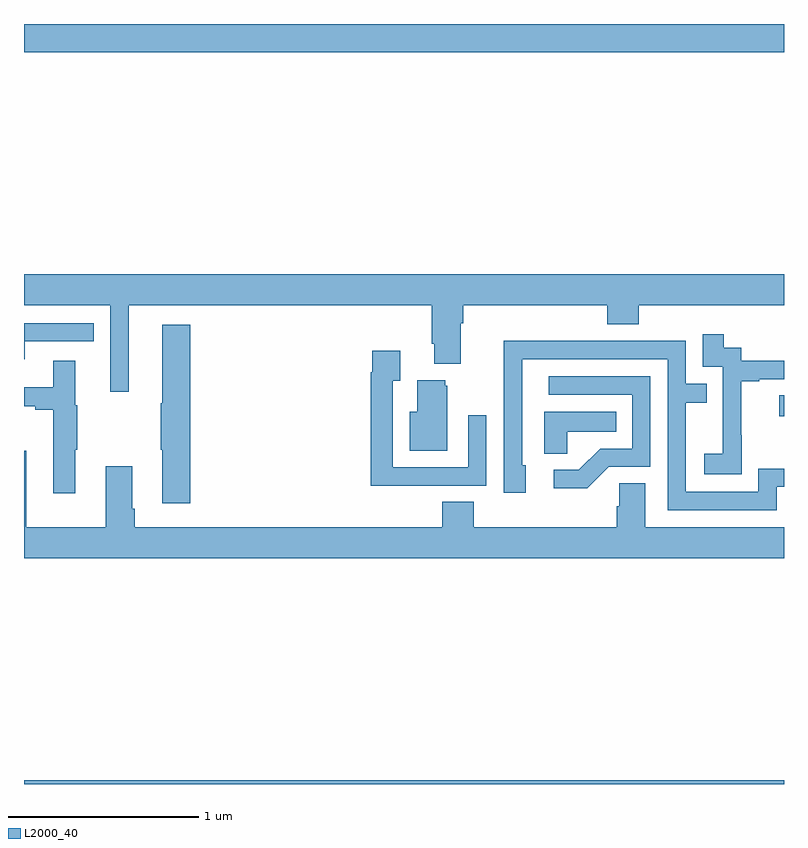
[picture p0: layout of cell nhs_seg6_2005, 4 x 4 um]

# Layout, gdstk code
import gdstk
lib = gdstk.Library(unit=1e-6, precision=1e-09)
def R(c, l, rs):  # rectangles x0, y0, x1, y1
    for r in rs: c.add(gdstk.rectangle(r[:2], r[2:], *l))
def P(c, l, *ps):  # polygons
    for p in ps: c.add(gdstk.Polygon(p, *l))
L2000_40 = (2000, 40)

nhs_seg6_2005 = lib.new_cell('nhs_seg6_2005')
R(nhs_seg6_2005, L2000_40, [(231,927.5,235,927.52), (234.975,929.435,235,929.545), (231,931.352,235,931.5)])
P(nhs_seg6_2005, L2000_40, [(231.55,930.02),(233.147,930.02),(233.147,929.818),(233.159,929.818),(233.159,929.711),(233.299,929.711),(233.299,929.924),(233.312,929.924),(233.312,930.02),(234.071,930.02),(234.071,929.921),(234.236,929.921),(234.236,930.02),(235,930.02),(235,930.184),(231,930.184),(231,930.02),(231.453,930.02),(231.453,929.565),(231.55,929.565)],
  [(231.004,929.829),(231.368,929.829),(231.368,929.925),(231,929.925),(231,929.735),(231.004,929.735)],
  [(231.875,929.917),(231.728,929.917),(231.728,929.504),(231.721,929.504),(231.721,929.26),(231.728,929.26),(231.728,928.977),(231.875,928.977)],
  [(234.777,929.335),(234.776,929.335),(234.776,929.619),(234.871,929.619),(234.871,929.631),(235,929.631),(235,929.727),(234.774,929.727),(234.774,929.796),(234.682,929.796),(234.682,929.866),(234.573,929.866),(234.573,929.697),(234.678,929.697),(234.678,929.468),(234.677,929.468),(234.677,929.239),(234.579,929.239),(234.579,929.129),(234.777,929.129)],
  [(234.961,929.064),(235,929.064),(235,929.16),(234.864,929.16),(234.864,929.037),(234.483,929.037),(234.483,929.506),(234.593,929.506),(234.593,929.607),(234.483,929.607),(234.483,929.832),(233.987,929.832),(233.987,929.834),(233.524,929.834),(233.524,929.527),(233.526,929.527),(233.526,929.034),(233.641,929.034),(233.641,929.178),(233.622,929.178),(233.622,929.736),(234.387,929.736),(234.387,928.941),(234.961,928.941)],
  [(233.117,929.07),(233.433,929.07),(233.433,929.44),(233.337,929.44),(233.337,929.166),(232.941,929.166),(232.941,929.623),(232.981,929.623),(232.981,929.779),(232.833,929.779),(232.833,929.666),(232.825,929.666),(232.825,929.069),(233.117,929.069)],
  [(231.271,929.26),(231.279,929.26),(231.279,929.493),(231.271,929.493),(231.271,929.728),(231.155,929.728),(231.155,929.587),(231,929.587),(231,929.488),(231.059,929.488),(231.059,929.47),(231.155,929.47),(231.155,929.031),(231.271,929.031)],
  [(234.078,929.169),(234.297,929.169),(234.297,929.646),(233.763,929.646),(233.763,929.55),(234.201,929.55),(234.201,929.265),(234.032,929.265),(233.921,929.154),(233.787,929.154),(233.787,929.057),(233.965,929.057)],
  [(233.227,929.595),(233.216,929.595),(233.216,929.626),(233.069,929.626),(233.069,929.458),(233.03,929.458),(233.03,929.255),(233.227,929.255)],
  [(233.859,929.354),(234.116,929.354),(234.116,929.458),(233.738,929.458),(233.738,929.239),(233.859,929.239)],
  [(235,928.852),(234.271,928.852),(234.271,929.084),(234.132,929.084),(234.132,928.961),(234.119,928.961),(234.119,928.852),(233.366,928.852),(233.366,928.985),(233.201,928.985),(233.201,928.852),(231.584,928.852),(231.584,928.948),(231.571,928.948),(231.571,929.173),(231.431,929.173),(231.431,928.852),(231.013,928.852),(231.013,929.254),(231,929.254),(231,928.688),(235,928.688)])

lib.write_gds('nhs_seg6_2005.gds')
